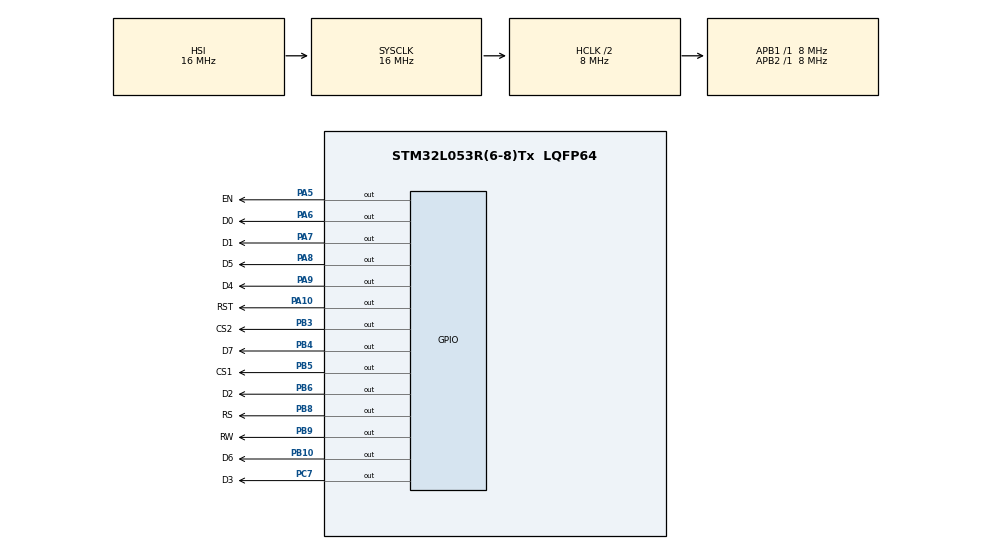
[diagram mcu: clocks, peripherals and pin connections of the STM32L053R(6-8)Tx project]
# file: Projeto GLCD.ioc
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Mcu.Family=STM32L0
Mcu.Name=STM32L053R(6-8)Tx
Mcu.Package=LQFP64
PA10.GPIO_Label=RST
PA10.Signal=GPIO_Output
PA5.GPIO_Label=EN
PA5.Signal=GPIO_Output
PA6.GPIO_Label=D0
PA6.Signal=GPIO_Output
PA7.GPIO_Label=D1
PA7.Signal=GPIO_Output
PA8.GPIO_Label=D5
PA8.Signal=GPIO_Output
PA9.GPIO_Label=D4
PA9.Signal=GPIO_Output
PB10.GPIO_Label=D6
PB10.Signal=GPIO_Output
PB3.GPIO_Label=CS2
PB3.Signal=GPIO_Output
PB4.GPIO_Label=D7
PB4.Signal=GPIO_Output
PB5.GPIO_Label=CS1
PB5.Signal=GPIO_Output
PB6.GPIO_Label=D2
PB6.Signal=GPIO_Output
PB8.GPIO_Label=RS
PB8.Signal=GPIO_Output
PB9.GPIO_Label=RW
PB9.Signal=GPIO_Output
PC7.GPIO_Label=D3
PC7.Signal=GPIO_Output
ProjectManager.HeapSize=0x200
ProjectManager.StackSize=0x400
ProjectManager.TargetToolchain=STM32CubeIDE
RCC.AHBCLKDivider=RCC_SYSCLK_DIV2
RCC.AHBFreq_Value=8000000
RCC.APB1Freq_Value=8000000
RCC.APB1TimFreq_Value=8000000
RCC.APB2Freq_Value=8000000
RCC.APB2TimFreq_Value=8000000
RCC.HCLKFreq_Value=8000000
RCC.HSE_VALUE=8000000
RCC.HSI16_VALUE=16000000
RCC.HSI48_VALUE=48000000
RCC.HSI_VALUE=16000000
RCC.LSE_VALUE=32768
RCC.MSI_VALUE=2097000
RCC.SYSCLKFreq_VALUE=16000000
RCC.SYSCLKSource=RCC_SYSCLKSOURCE_HSI
RCC.VCOOutputFreq_Value=48000000
board=NUCLEO-L053R8

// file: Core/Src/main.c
/* USER CODE BEGIN Header */
/**
  ******************************************************************************
  * @file           : main.c
  * @brief          : Main program body
  ******************************************************************************
  * @attention
  *
  * Copyright (c) 2025 STMicroelectronics.
  * All rights reserved.
  *
  * This software is licensed under terms that can be found in the LICENSE file
  * in the root directory of this software component.
  * If no LICENSE file comes with this software, it is provided AS-IS.
  *
  ******************************************************************************
  */
/* USER CODE END Header */
#include "main.h"

/* USER CODE BEGIN PTD */
typedef struct {
	unsigned P0: 1,
			 P1: 1,
			 P2: 1,
			 P3: 1,
			 P4: 1,
			 P5: 1,
			 P6: 1,
			 P7: 1;
} bitPort;
/* USER CODE END PTD */

/* USER CODE BEGIN PD */

#define CS1 0
#define CS2 1

/* USER CODE END PD */

/* USER CODE BEGIN PV */
bitPort PORT;

/* USER CODE END PV */

void SystemClock_Config(void);
static void MX_GPIO_Init(void);
/* USER CODE BEGIN PFP */
void Glcd_init(void);
void Glcd_status(unsigned status);
void Draw_image(uint8_t imageArr[8][128]);
void Info_manager(unsigned data, unsigned rs, unsigned chip_select);

/* USER CODE END PFP */

int main(void)
{

  /* MCU Configuration--------------------------------------------------------*/

  /* Reset of all peripherals, Initializes the Flash interface and the Systick. */
  HAL_Init();

  /* Configure the system clock */
  SystemClock_Config();

  /* Initialize all configured peripherals */
  MX_GPIO_Init();
  /* USER CODE BEGIN 2 */
  Glcd_init();

  Info_manager(0x40 + 18, 0, CS1);
  Info_manager(0xBE + 18, 0, CS1);

  for (int i = 0; i < (64 - 18); ++i){
	  Info_manager(0xFC, 1, CS1);
	  HAL_Delay(25);
  }

  Info_manager(0x40, 0, CS2);
  Info_manager(0xBE, 0, CS2);

  for (int i = 0; i < (64 - 16); ++i){
	  Info_manager(0xFC, 1, CS2);
	  HAL_Delay(25);
  }

  /* USER CODE END 2 */

  /* Infinite loop */
  while (1)
  {

  }
}

void SystemClock_Config(void)
{
  RCC_OscInitTypeDef RCC_OscInitStruct = {0};
  RCC_ClkInitTypeDef RCC_ClkInitStruct = {0};

  /** Configure the main internal regulator output voltage
  */
  __HAL_PWR_VOLTAGESCALING_CONFIG(PWR_REGULATOR_VOLTAGE_SCALE1);

  /** Initializes the RCC Oscillators according to the specified parameters
  * in the RCC_OscInitTypeDef structure.
  */
  RCC_OscInitStruct.OscillatorType = RCC_OSCILLATORTYPE_HSI;
  RCC_OscInitStruct.HSIState = RCC_HSI_ON;
  RCC_OscInitStruct.HSICalibrationValue = RCC_HSICALIBRATION_DEFAULT;
  RCC_OscInitStruct.PLL.PLLState = RCC_PLL_NONE;
  if (HAL_RCC_OscConfig(&RCC_OscInitStruct) != HAL_OK)
  {
    Error_Handler();
  }

  /** Initializes the CPU, AHB and APB buses clocks
  */
  RCC_ClkInitStruct.ClockType = RCC_CLOCKTYPE_HCLK|RCC_CLOCKTYPE_SYSCLK
                              |RCC_CLOCKTYPE_PCLK1|RCC_CLOCKTYPE_PCLK2;
  RCC_ClkInitStruct.SYSCLKSource = RCC_SYSCLKSOURCE_HSI;
  RCC_ClkInitStruct.AHBCLKDivider = RCC_SYSCLK_DIV2;
  RCC_ClkInitStruct.APB1CLKDivider = RCC_HCLK_DIV1;
  RCC_ClkInitStruct.APB2CLKDivider = RCC_HCLK_DIV1;

  if (HAL_RCC_ClockConfig(&RCC_ClkInitStruct, FLASH_LATENCY_0) != HAL_OK)
  {
    Error_Handler();
  }
}

static void MX_GPIO_Init(void)
{
  GPIO_InitTypeDef GPIO_InitStruct = {0};

  /* GPIO Ports Clock Enable */
  __HAL_RCC_GPIOA_CLK_ENABLE();
  __HAL_RCC_GPIOB_CLK_ENABLE();
  __HAL_RCC_GPIOC_CLK_ENABLE();

  /*Configure GPIO pin Output Level */
  HAL_GPIO_WritePin(GPIOA, EN_Pin|D0_Pin|D1_Pin|D5_Pin
                          |D4_Pin|RST_Pin, GPIO_PIN_RESET);

  /*Configure GPIO pin Output Level */
  HAL_GPIO_WritePin(GPIOB, D6_Pin|CS2_Pin|D7_Pin|CS1_Pin
                          |D2_Pin|RS_Pin|RW_Pin, GPIO_PIN_RESET);

  /*Configure GPIO pin Output Level */
  HAL_GPIO_WritePin(D3_GPIO_Port, D3_Pin, GPIO_PIN_RESET);

  /*Configure GPIO pins : EN_Pin D0_Pin D1_Pin D5_Pin
                           D4_Pin RST_Pin */
  GPIO_InitStruct.Pin = EN_Pin|D0_Pin|D1_Pin|D5_Pin
                          |D4_Pin|RST_Pin;
  GPIO_InitStruct.Mode = GPIO_MODE_OUTPUT_PP;
  GPIO_InitStruct.Pull = GPIO_NOPULL;
  GPIO_InitStruct.Speed = GPIO_SPEED_FREQ_LOW;
  HAL_GPIO_Init(GPIOA, &GPIO_InitStruct);

  /*Configure GPIO pins : D6_Pin CS2_Pin D7_Pin CS1_Pin
                           D2_Pin RS_Pin RW_Pin */
  GPIO_InitStruct.Pin = D6_Pin|CS2_Pin|D7_Pin|CS1_Pin
                          |D2_Pin|RS_Pin|RW_Pin;
  GPIO_InitStruct.Mode = GPIO_MODE_OUTPUT_PP;
  GPIO_InitStruct.Pull = GPIO_NOPULL;
  GPIO_InitStruct.Speed = GPIO_SPEED_FREQ_LOW;
  HAL_GPIO_Init(GPIOB, &GPIO_InitStruct);

  /*Configure GPIO pin : D3_Pin */
  GPIO_InitStruct.Pin = D3_Pin;
  GPIO_InitStruct.Mode = GPIO_MODE_OUTPUT_PP;
  GPIO_InitStruct.Pull = GPIO_NOPULL;
  GPIO_InitStruct.Speed = GPIO_SPEED_FREQ_LOW;
  HAL_GPIO_Init(D3_GPIO_Port, &GPIO_InitStruct);

}

/* USER CODE BEGIN 4 */
void Info_manager(unsigned data, unsigned rs, unsigned chip_select){
	PORT.P0 = (data >> 0) & 1;
	PORT.P1 = (data >> 1) & 1;
	PORT.P2 = (data >> 2) & 1;
	PORT.P3 = (data >> 3) & 1;
	PORT.P4 = (data >> 4) & 1;
	PORT.P5 = (data >> 5) & 1;
	PORT.P6 = (data >> 6) & 1;
	PORT.P7 = (data >> 7) & 1;

	if (!chip_select) HAL_GPIO_WritePin(CS1_GPIO_Port, CS1_Pin, SET);
	else HAL_GPIO_WritePin(CS2_GPIO_Port, CS2_Pin, SET);

	HAL_GPIO_WritePin(RS_GPIO_Port, RS_Pin, (rs ? SET : RESET));
	HAL_GPIO_WritePin(RW_GPIO_Port, RW_Pin, RESET);

	HAL_GPIO_WritePin(D0_GPIO_Port, D0_Pin, PORT.P0);
	HAL_GPIO_WritePin(D1_GPIO_Port, D1_Pin, PORT.P1);
	HAL_GPIO_WritePin(D2_GPIO_Port, D2_Pin, PORT.P2);
	HAL_GPIO_WritePin(D3_GPIO_Port, D3_Pin, PORT.P3);
	HAL_GPIO_WritePin(D4_GPIO_Port, D4_Pin, PORT.P4);
	HAL_GPIO_WritePin(D5_GPIO_Port, D5_Pin, PORT.P5);
	HAL_GPIO_WritePin(D6_GPIO_Port, D6_Pin, PORT.P6);
	HAL_GPIO_WritePin(D7_GPIO_Port, D7_Pin, PORT.P7);

	HAL_GPIO_WritePin(EN_GPIO_Port, EN_Pin, SET);
	HAL_GPIO_WritePin(EN_GPIO_Port, EN_Pin, RESET);

	HAL_GPIO_WritePin(CS1_GPIO_Port, CS1_Pin, RESET);
	HAL_GPIO_WritePin(CS2_GPIO_Port, CS2_Pin, RESET);
}

void Glcd_init(void){
	Info_manager(0xC0, 0, 0);
	Info_manager(0xC0, 0, 1);

	Info_manager(0x3E, 0, 0);
	Info_manager(0x3E, 0, 1);
}

/* USER CODE END 4 */

void Error_Handler(void)
{
  __disable_irq();
  while (1)
  {
  }
}
